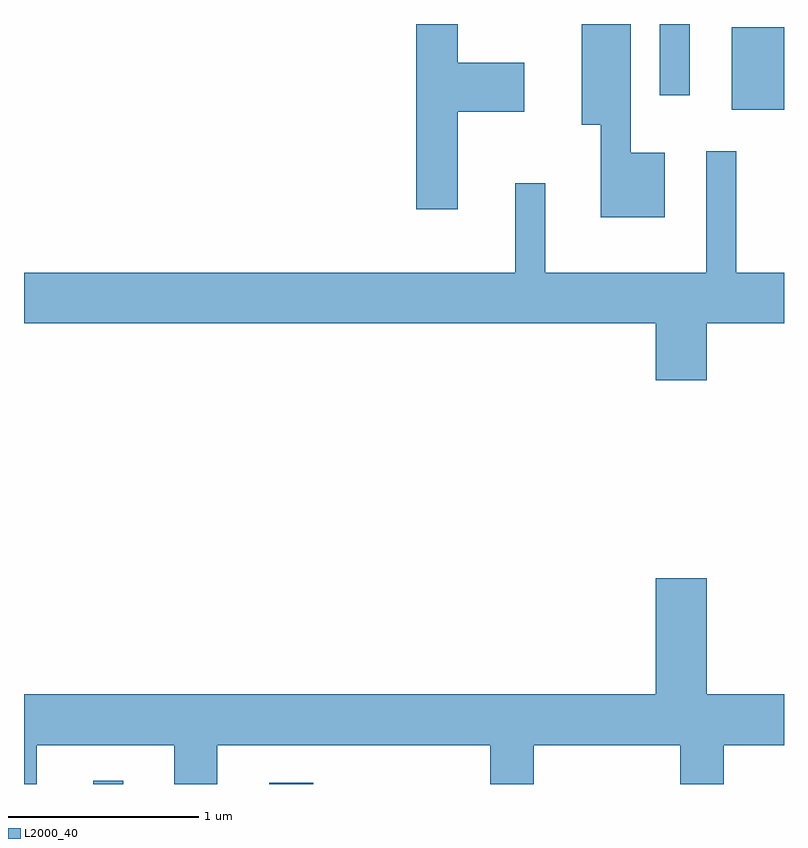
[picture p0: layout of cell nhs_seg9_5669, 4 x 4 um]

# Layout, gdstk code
import gdstk
lib = gdstk.Library(unit=1e-6, precision=1e-09)
def R(c, l, rs):  # rectangles x0, y0, x1, y1
    for r in rs: c.add(gdstk.rectangle(r[:2], r[2:], *l))
def P(c, l, *ps):  # polygons
    for p in ps: c.add(gdstk.Polygon(p, *l))
L2000_40 = (2000, 40)

nhs_seg9_5669 = lib.new_cell('nhs_seg9_5669')
R(nhs_seg9_5669, L2000_40, [(351.976,2060.432,352.134,2060.448), (352.901,2060.432,353.134,2060.439), (355.336,2063.981,355.611,2064.414), (354.956,2064.058,355.114,2064.432)])
P(nhs_seg9_5669, L2000_40, [(354.984,2063.754),(354.804,2063.754),(354.804,2064.432),(354.546,2064.432),(354.546,2063.901),(354.646,2063.901),(354.646,2063.416),(354.984,2063.416)],
  [(353.894,2063.971),(354.244,2063.971),(354.244,2064.229),(353.894,2064.229),(353.894,2064.432),(353.676,2064.432),(353.676,2063.456),(353.894,2063.456)],
  [(355.204,2062.856),(355.611,2062.856),(355.611,2063.124),(355.359,2063.124),(355.359,2063.762),(355.201,2063.762),(355.201,2063.124),(354.354,2063.124),(354.354,2063.593),(354.196,2063.593),(354.196,2063.124),(351.611,2063.124),(351.611,2062.856),(354.936,2062.856),(354.936,2062.556),(355.204,2062.556)],
  [(351.679,2060.636),(352.401,2060.636),(352.401,2060.432),(352.629,2060.432),(352.629,2060.636),(354.066,2060.636),(354.066,2060.432),(354.294,2060.432),(354.294,2060.636),(355.066,2060.636),(355.066,2060.432),(355.294,2060.432),(355.294,2060.636),(355.611,2060.636),(355.611,2060.904),(355.204,2060.904),(355.204,2061.514),(354.936,2061.514),(354.936,2060.904),(351.611,2060.904),(351.611,2060.432),(351.679,2060.432)])

lib.write_gds('nhs_seg9_5669.gds')
